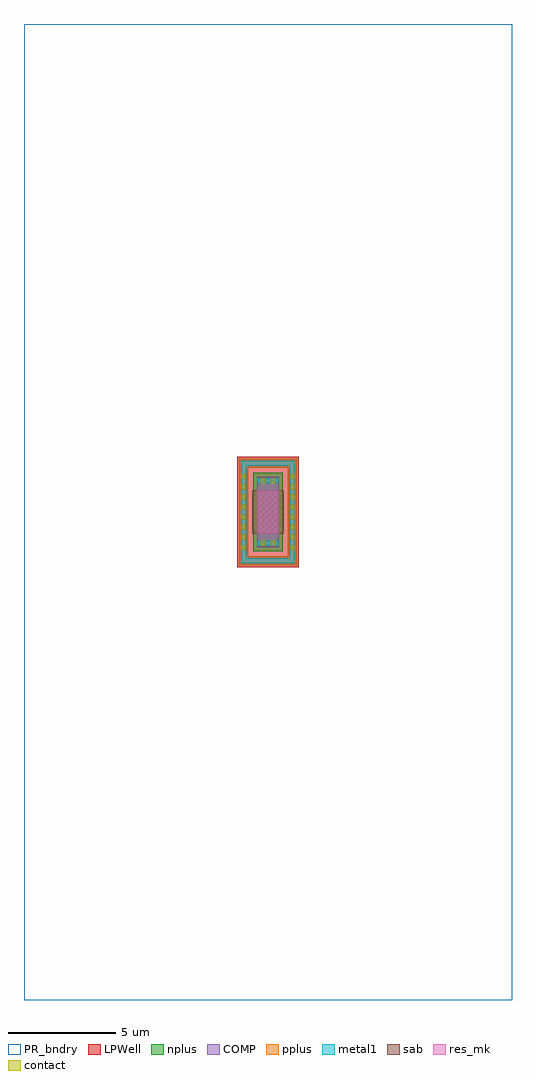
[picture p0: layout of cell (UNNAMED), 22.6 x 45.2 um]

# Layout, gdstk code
import gdstk
lib = gdstk.Library(unit=1e-6, precision=1e-09)
def R(c, l, rs):  # rectangles x0, y0, x1, y1
    for r in rs: c.add(gdstk.rectangle(r[:2], r[2:], *l))
def A(c, l, x, y, w, h, nx, ny, dx, dy):  # array of equal rectangles
    R(c, l, [(x+i*dx, y+j*dy, x+i*dx+w, y+j*dy+h) for i in range(nx) for j in range(ny)])
PR_bndry = (0, 0)
COMP = (22, 0)
pplus = (31, 0)
nplus = (32, 0)
contact = (33, 0)
metal1 = (34, 0)
sab = (49, 0)
res_mk = (110, 5)
LPWell = (204, 0)

c__unnamed_ = lib.new_cell('(UNNAMED)')
R(c__unnamed_, PR_bndry, [(-11.3,-22.6,11.3,22.6)])
R(c__unnamed_, COMP, [(-1.31,-2.44,1.31,-2.08), (-1.31,-2.08,-0.95,2.08), (0.95,-2.08,1.31,2.08), (-0.5,-1.63,0.5,1.63), (-1.31,2.08,1.31,2.44)])
R(c__unnamed_, pplus, [(-1.33,-2.46,1.33,-2.06), (-1.33,-2.06,-0.92,-1.955), (0.92,-2.06,1.33,-1.955), (-1.34,-1.955,-0.92,1.955), (0.92,-1.955,1.34,1.955), (-1.33,1.955,-0.92,2.06), (0.92,1.955,1.33,2.06), (-1.33,2.06,1.33,2.46)])
R(c__unnamed_, nplus, [(-0.68,-1.81,0.68,1.81), (-0.66,-1.79,0.66,1.79)])
A(c__unnamed_, contact, -1.24, -1.755, 0.22, 0.22, 1, 8, 0, 0.47)
A(c__unnamed_, contact, 1.02, -1.755, 0.22, 0.22, 1, 8, 0, 0.47)
R(c__unnamed_, contact, [(-0.345,-1.56,-0.125,-1.34), (0.125,-1.56,0.345,-1.34), (-0.345,1.34,-0.125,1.56), (0.125,1.34,0.345,1.56)])
R(c__unnamed_, metal1, [(-1.245,-2.375,1.245,-2.145), (-1.245,-2.145,-1.015,2.145), (1.015,-2.145,1.245,2.145), (-0.49,-1.565,0.49,-1.335), (-0.49,1.335,0.49,1.565), (-1.245,2.145,1.245,2.375)])
R(c__unnamed_, sab, [(-0.72,-1,0.72,1)])
R(c__unnamed_, res_mk, [(-0.5,-1,0.5,1)])
R(c__unnamed_, LPWell, [(-1.43,-2.56,1.43,2.56)])

lib.write_gds('_UNNAMED_.gds')
